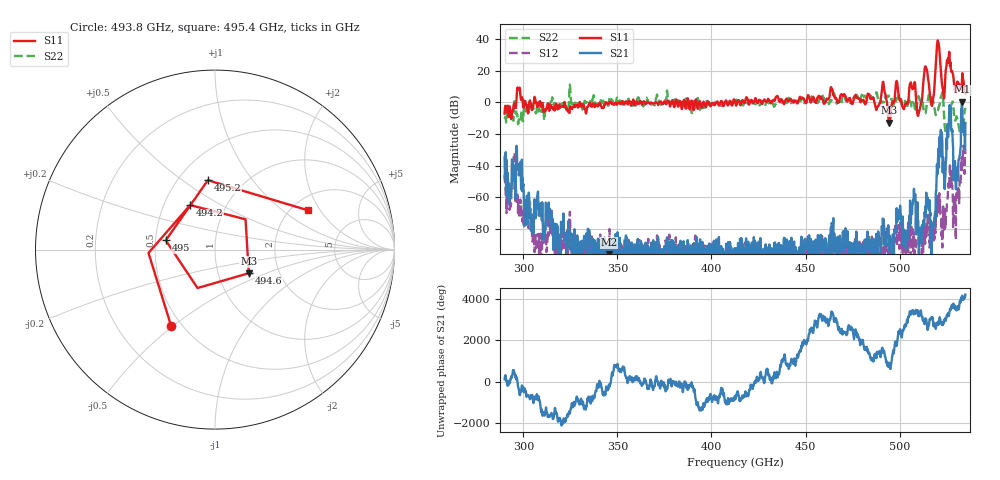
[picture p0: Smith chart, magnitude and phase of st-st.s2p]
!Created with skrf (http://scikit-rf.org).
# GHz S RI R 50.0
!freq ReS11 ImS11 ReS21 ImS21 ReS12 ImS12 ReS22 ImS22
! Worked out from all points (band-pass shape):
!   1201 points, 290 GHz to 535 GHz, reference 50 ohm
!   highest |S21| = 0.44 dB at 533.2 GHz (marker M1); lowest = -117.9 dB at 345.5 GHz (marker M2)
!   |S21| within 3 dB of the highest: 526.5668 GHz to 526.6464 GHz (79.63 MHz wide, 0.0151 % of centre); 533.0167 GHz to 533.2948 GHz (278 MHz wide, 0.0521 % of centre)
!   lowest |S11| = -12.8 dB at 494.6 GHz (marker M3), VSWR 1.60, Z = 70 - j19.5 ohm
!   |S11| at or under -10 dB: 293.4212 GHz to 293.6142 GHz (193 MHz wide, 0.0657 % of centre); 494.0843 GHz to 495.0605 GHz (976.2 MHz wide, 0.197 % of centre)
!   |S22| runs from -19.8 to 11.2 dB; largest |S21 - S12| = 1.1
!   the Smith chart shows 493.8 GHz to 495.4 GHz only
!   S11 on the Smith chart (normalised r, x): 493.8 GHz: 0.44, -0.50; 494.2 GHz: 0.68, +0.37; 494.6 GHz: 1.40, -0.39; 495 GHz: 0.57, +0.06; 495.2 GHz: 0.69, +0.63; 495.4 GHz: 2.46, +1.57
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290  -0.1938 -0.3943  -0.00742 0.0174  0.00221 0.00472  -0.1411 -0.2613
331.0375  -0.6983 -0.2411  -4.12e-05 1.05e-05  1.1e-05 -2.55e-06  -0.187 0.798
345.5333  0.7502 0.5763  -9.66e-07 -8.34e-07  2.83e-06 6.55e-06  0.6507 -0.7387
371.6667  -0.5879 -0.5782  -5.09e-05 -9.48e-06  4.01e-06 -8.45e-06  -1.312 -0.5423
412.5  -0.3063 -1.079  1.01e-05 4.78e-06  1.37e-05 -9.73e-06  -0.7514 -0.3095
453.5375  0.9484 0.9735  1.98e-05 2.14e-05  3.88e-06 3.28e-05  -1.357 -0.1687
493.7583  -0.2435 -0.4284  1.72e-05 5.39e-05  2.57e-05 -2.14e-05  1.091 0.9841
494.1667  -0.1384 0.2479  -2.19e-05 4.53e-05  3.99e-06 5.57e-06  1.631 -0.1667
494.575  0.1883 -0.1316  -1.92e-05 2.42e-06  -3.85e-05 -1.84e-05  0.6608 -1.476
494.9833  -0.2742 0.0516  -5.38e-06 -4.99e-05  6.21e-07 9.02e-06  -0.8778 -1.397
495.1875  -0.0398 0.3865  -1.24e-05 -4.76e-05  -1.98e-05 2.28e-05  -1.578 -0.6336
495.3917  0.5207 0.2181  1.2e-05 2.48e-05  5.15e-06 4.25e-05  -1.501 0.5335
513.1542  8.932 -0.1055  1.24e-05 -0.000134  -3.96e-05 5.7e-05  0.4727 -0.0379
518.0542  1.406 0.6804  -0.000158 3.28e-05  4.27e-05 -7.36e-06  -0.2331 -0.8494
519.8917  -54.12 31.73  -0.00689 -0.00844  0.000142 -0.000207  -0.5066 -0.0246
521.1167  -14.19 47.44  0.0178 0.0774  -0.001 0.000906  0.6869 -0.4206
522.5458  -3.58 -0.9191  -0.0307 -0.0915  9.48e-05 -0.000209  -1.441 1.194
524.5875  9.875 -4.342  0.00094 0.0126  -0.000222 4.82e-05  -0.0981 0.0274
526.0167  -17.74 3.321  0.1192 0.0374  8.67e-07 0.00217  -0.2114 -0.048
528.2625  -4.28 -6.887  0.0439 0.0326  -0.00115 0.000357  -1.061 0.1098
533.1625  -2.005 -3.827  0.4061 0.9705  -0.00207 -0.00687  0.1438 0.0376
535  1.825 0.4145  0.0049 -0.2226  0.0212 0.00133  -0.2106 -0.6328
